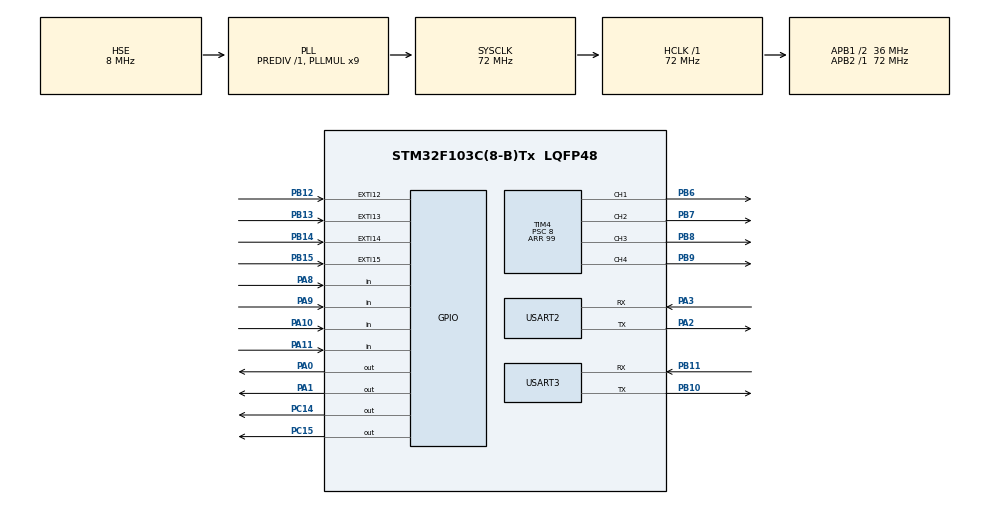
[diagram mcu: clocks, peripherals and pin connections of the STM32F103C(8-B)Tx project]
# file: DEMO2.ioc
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Dma.Request0=USART2_RX
Dma.Request1=USART3_RX
Dma.USART2_RX.0.Direction=DMA_PERIPH_TO_MEMORY
Dma.USART2_RX.0.Instance=DMA1_Channel6
Dma.USART2_RX.0.MemDataAlignment=DMA_MDATAALIGN_BYTE
Dma.USART2_RX.0.MemInc=DMA_MINC_ENABLE
Dma.USART2_RX.0.Mode=DMA_CIRCULAR
Dma.USART2_RX.0.PeriphDataAlignment=DMA_PDATAALIGN_BYTE
Dma.USART2_RX.0.PeriphInc=DMA_PINC_DISABLE
Dma.USART2_RX.0.Priority=DMA_PRIORITY_LOW
Dma.USART3_RX.1.Direction=DMA_PERIPH_TO_MEMORY
Dma.USART3_RX.1.Instance=DMA1_Channel3
Dma.USART3_RX.1.MemDataAlignment=DMA_MDATAALIGN_BYTE
Dma.USART3_RX.1.MemInc=DMA_MINC_ENABLE
Dma.USART3_RX.1.Mode=DMA_CIRCULAR
Dma.USART3_RX.1.PeriphDataAlignment=DMA_PDATAALIGN_BYTE
Dma.USART3_RX.1.PeriphInc=DMA_PINC_DISABLE
Dma.USART3_RX.1.Priority=DMA_PRIORITY_LOW
Mcu.Family=STM32F1
Mcu.Name=STM32F103C(8-B)Tx
Mcu.Package=LQFP48
NVIC.DMA1_Channel3_IRQn=true\:2\:0\:true\:false\:true\:false\:true
NVIC.DMA1_Channel6_IRQn=true\:2\:0\:true\:false\:true\:false\:true
NVIC.EXTI15_10_IRQn=true\:1\:0\:true\:false\:true\:true\:true
NVIC.PriorityGroup=NVIC_PRIORITYGROUP_4
NVIC.TIM2_IRQn=true\:0\:0\:false\:false\:true\:true\:true
NVIC.USART2_IRQn=true\:2\:0\:true\:false\:true\:true\:true
NVIC.USART3_IRQn=true\:2\:0\:true\:false\:true\:true\:true
PA0-WKUP.GPIO_PuPd=GPIO_PULLUP
PA0-WKUP.PinState=GPIO_PIN_SET
PA0-WKUP.Signal=GPIO_Output
PA1.GPIO_PuPd=GPIO_PULLDOWN
PA1.PinState=GPIO_PIN_SET
PA1.Signal=GPIO_Output
PA10.Signal=GPIO_Input
PA11.Signal=GPIO_Input
PA13.Mode=Serial_Wire
PA13.Signal=SYS_JTMS-SWDIO
PA14.Mode=Serial_Wire
PA14.Signal=SYS_JTCK-SWCLK
PA2.Mode=Asynchronous
PA2.Signal=USART2_TX
PA3.Mode=Asynchronous
PA3.Signal=USART2_RX
PA8.Signal=GPIO_Input
PA9.Signal=GPIO_Input
PB10.Mode=Asynchronous
PB10.Signal=USART3_TX
PB11.Mode=Asynchronous
PB11.Signal=USART3_RX
PB12.GPIO_PuPd=GPIO_PULLDOWN
PB12.Signal=GPXTI12
PB13.GPIO_PuPd=GPIO_PULLDOWN
PB13.Signal=GPXTI13
PB14.GPIO_PuPd=GPIO_PULLDOWN
PB14.Signal=GPXTI14
PB15.GPIO_PuPd=GPIO_PULLDOWN
PB15.Signal=GPXTI15
PB6.Signal=S_TIM4_CH1
PB7.Signal=S_TIM4_CH2
PB8.Signal=S_TIM4_CH3
PB9.Signal=S_TIM4_CH4
PC14-OSC32_IN.GPIO_PuPd=GPIO_PULLUP
PC14-OSC32_IN.PinState=GPIO_PIN_SET
PC14-OSC32_IN.Signal=GPIO_Output
PC15-OSC32_OUT.GPIO_PuPd=GPIO_PULLDOWN
PC15-OSC32_OUT.PinState=GPIO_PIN_SET
PC15-OSC32_OUT.Signal=GPIO_Output
PD0-OSC_IN.Mode=HSE-External-Oscillator
PD0-OSC_IN.Signal=RCC_OSC_IN
PD1-OSC_OUT.Mode=HSE-External-Oscillator
PD1-OSC_OUT.Signal=RCC_OSC_OUT
ProjectManager.HeapSize=0x200
ProjectManager.StackSize=0x400
ProjectManager.TargetToolchain=MDK-ARM V5.32
RCC.AHBFreq_Value=72000000
RCC.APB1CLKDivider=RCC_HCLK_DIV2
RCC.APB1Freq_Value=36000000
RCC.APB1TimFreq_Value=72000000
RCC.APB2Freq_Value=72000000
RCC.APB2TimFreq_Value=72000000
RCC.HCLKFreq_Value=72000000
RCC.PLLMUL=RCC_PLL_MUL9
RCC.PLLSourceVirtual=RCC_PLLSOURCE_HSE
RCC.SYSCLKFreq_VALUE=72000000
RCC.SYSCLKSource=RCC_SYSCLKSOURCE_PLLCLK
RCC.USBFreq_Value=72000000
SH.S_TIM4_CH1.0=TIM4_CH1,PWM Generation1 CH1
SH.S_TIM4_CH2.0=TIM4_CH2,PWM Generation2 CH2
SH.S_TIM4_CH3.0=TIM4_CH3,PWM Generation3 CH3
SH.S_TIM4_CH4.0=TIM4_CH4,PWM Generation4 CH4
TIM2.Period=1000-1
TIM2.Prescaler=7199
TIM3.Period=10000-1
TIM3.Prescaler=72-1
TIM4.AutoReloadPreload=TIM_AUTORELOAD_PRELOAD_ENABLE
TIM4.Channel-PWM\ Generation1\ CH1=TIM_CHANNEL_1
TIM4.Channel-PWM\ Generation2\ CH2=TIM_CHANNEL_2
TIM4.Channel-PWM\ Generation3\ CH3=TIM_CHANNEL_3
TIM4.Channel-PWM\ Generation4\ CH4=TIM_CHANNEL_4
TIM4.Period=99
TIM4.Prescaler=8
USART2.VirtualMode=VM_ASYNC
USART3.VirtualMode=VM_ASYNC
VP_TIM2_VS_ClockSourceINT.Mode=Internal
VP_TIM3_VS_ClockSourceINT.Mode=Internal
VP_TIM4_VS_ClockSourceINT.Mode=Internal
board=custom

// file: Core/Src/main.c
/* USER CODE BEGIN Header */
/**
  ******************************************************************************
  * @file           : main.c
  * @brief          : Main program body
  ******************************************************************************
  * @attention
  *
  * <h2><center>&copy; Copyright (c) 2024 STMicroelectronics.
  * All rights reserved.</center></h2>
  *
  * This software component is licensed by ST under BSD 3-Clause license,
  * the "License"; You may not use this file except in compliance with the
  * License. You may obtain a copy of the License at:
  *                        opensource.org/licenses/BSD-3-Clause
  *
  ******************************************************************************
  */
/* USER CODE END Header */
#include "main.h"
#include "dma.h"
#include "tim.h"
#include "usart.h"
#include "gpio.h"

/* USER CODE BEGIN Includes */
#include "motor.h"
#include <math.h>
#include "encode.h"
#include "protocol.h"
/* USER CODE END Includes */

/* USER CODE BEGIN PV */

// 全局变量

/* USER CODE END PV */

void SystemClock_Config(void);

/* USER CODE BEGIN 0 */

/*�������ԣ��ϳ�ʱ�ָ�
void HAL_TIM_PeriodElapsedCallback(TIM_HandleTypeDef *htim)
{

if (htim->Instance == TIM2) {

        // 计算目标速度（线速度和角速度�???????
       ComputeWheelSpeeds(Vc, Wc, WHEEL_BASE);

        for (int i = 0; i < 4; i++) {
            // 当前轮子的实际�?�度
            float current_speed = encoders[i].count * encoder_scale;  // ENCODER_SCALE根据编码器分辨率和减速比计算
            encoders[i].count = 0;  // 清零计数

            float pwm = PID_Compute(&pid[i], target_speed[i], current_speed);// PID计算PWM�???????
            pwm=SET_MOTOR(i, pwm);//切换正反�???
            SetMotorPWM(i, pwm);// 设置PWM
        }
    }

}
*/
/* USER CODE END 0 */

int main(void)
{

  /* MCU Configuration--------------------------------------------------------*/

  /* Reset of all peripherals, Initializes the Flash interface and the Systick. */
  HAL_Init();

  /* Configure the system clock */
  SystemClock_Config();

  /* Initialize all configured peripherals */
  MX_GPIO_Init();
  MX_DMA_Init();
  MX_TIM2_Init();
  MX_TIM3_Init();
  MX_TIM4_Init();
  MX_USART2_UART_Init();
  MX_USART3_UART_Init();
  /* USER CODE BEGIN 2 */
HAL_TIM_PWM_Start (&htim4 ,TIM_CHANNEL_1 );
HAL_TIM_PWM_Start (&htim4 ,TIM_CHANNEL_2 );
HAL_TIM_PWM_Start (&htim4 ,TIM_CHANNEL_3 );
HAL_TIM_PWM_Start (&htim4 ,TIM_CHANNEL_4 );
HAL_TIM_Base_Start_IT(&htim2);
HAL_TIM_Base_Start (&htim3);
DMA_UART_Init();
//HAL_UARTEx_ReceiveToIdle_DMA(&huart2,dma_rx_buffer,128);
    // 初始化PID控制�???????
    for (int i = 0; i < 4; i++) {
        PID_Init(&pid[i], 1.0, 0.1, 0.01);  // 根据�???????要调整PID参数
    };

  /* USER CODE END 2 */

  /* Infinite loop */
  /* USER CODE BEGIN WHILE */
  while (1)
  {
    DMA_UART_Process();
// for (int z=0 ; z<15 ;z++){
// Vc=z;
// Wc=z;
// 		       ComputeWheelSpeeds(Vc, Wc, WHEEL_BASE);

//         for (int i = 0; i < 4; i++) {
//             // 当前轮子的实际�?�度
//             float current_speed = encoder_count[i] * encoder_scale;  // ENCODER_SCALE根据编码器分辨率和减速比计算
//             encoder_count[i] = 0;  // 清零计数

//             float pwm = PID_Compute(&pid[i], target_speed[i], current_speed);// PID计算PWM�???????
//             SET_MOTOR(i, pwm);//切换正反�???
//             SetMotorPWM(i, pwm);// 设置PWM
// 				}
// 			}

    //DMA_UART_Process_up();
      /* ComputeWheelSpeeds(0.5, 0.2, WHEEL_BASE);
         for (int i = 0; i < 4; i++)
         {
             // 当前轮子的实际�?�度
             float current_speed = encoder_count[i] * encoder_scale;  // ENCODER_SCALE根据编码器分辨率和减速比计算
             encoder_count[i] = 0;  // 清零计数

             // PID计算PWM�???????
             float pwm = PID_Compute(&pid[i], target_speed[i], current_speed);

             // 设置PWM
             SetMotorPWM(i, pwm);
         }
		*/
    /* USER CODE END WHILE */

  }
}

void SystemClock_Config(void)
{
  RCC_OscInitTypeDef RCC_OscInitStruct = {0};
  RCC_ClkInitTypeDef RCC_ClkInitStruct = {0};

  /** Initializes the RCC Oscillators according to the specified parameters
  * in the RCC_OscInitTypeDef structure.
  */
  RCC_OscInitStruct.OscillatorType = RCC_OSCILLATORTYPE_HSE;
  RCC_OscInitStruct.HSEState = RCC_HSE_ON;
  RCC_OscInitStruct.HSEPredivValue = RCC_HSE_PREDIV_DIV1;
  RCC_OscInitStruct.HSIState = RCC_HSI_ON;
  RCC_OscInitStruct.PLL.PLLState = RCC_PLL_ON;
  RCC_OscInitStruct.PLL.PLLSource = RCC_PLLSOURCE_HSE;
  RCC_OscInitStruct.PLL.PLLMUL = RCC_PLL_MUL9;
  if (HAL_RCC_OscConfig(&RCC_OscInitStruct) != HAL_OK)
  {
    Error_Handler();
  }
  /** Initializes the CPU, AHB and APB buses clocks
  */
  RCC_ClkInitStruct.ClockType = RCC_CLOCKTYPE_HCLK|RCC_CLOCKTYPE_SYSCLK
                              |RCC_CLOCKTYPE_PCLK1|RCC_CLOCKTYPE_PCLK2;
  RCC_ClkInitStruct.SYSCLKSource = RCC_SYSCLKSOURCE_PLLCLK;
  RCC_ClkInitStruct.AHBCLKDivider = RCC_SYSCLK_DIV1;
  RCC_ClkInitStruct.APB1CLKDivider = RCC_HCLK_DIV2;
  RCC_ClkInitStruct.APB2CLKDivider = RCC_HCLK_DIV1;

  if (HAL_RCC_ClockConfig(&RCC_ClkInitStruct, FLASH_LATENCY_2) != HAL_OK)
  {
    Error_Handler();
  }
}

void Error_Handler(void)
{
  __disable_irq();
  while (1)
  {
  }
}

/************************ (C) COPYRIGHT STMicroelectronics *****END OF FILE****/
